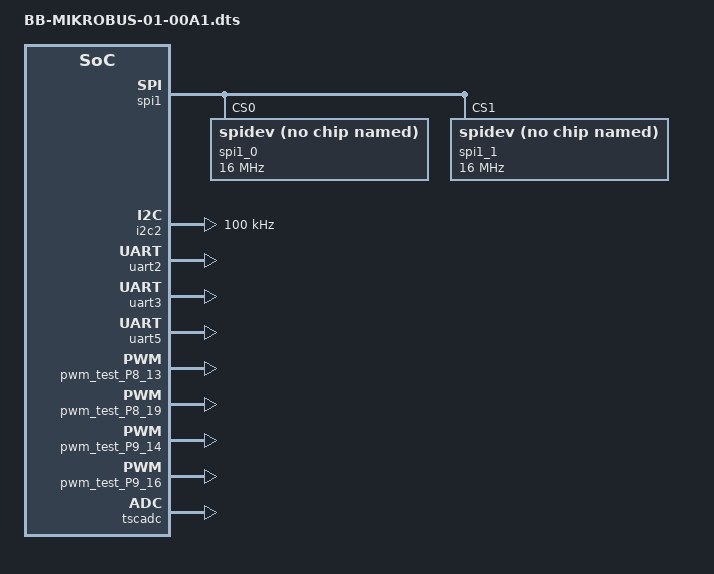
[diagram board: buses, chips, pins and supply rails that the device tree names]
/*
* Copyright (C) 2013 Daniele Sdei <danielesdei@gmail.com>
*
* This program is free software; you can redistribute it and/or modify
* it under the terms of the GNU General Public License version 2 as
* published by the Free Software Foundation.
*/
/dts-v1/;
/plugin/;

/ {
	compatible = "ti,beaglebone", "ti,beaglebone-black", "ti,beaglebone-green";

	/* identification */
	part-number = "BB-MIKROBUS-01";
	version = "00A1";

	/* state the resources this cape uses */
	exclusive-use =
		/* the pin header uses */
		"P8.11",	/* gpio1_13 */
		"P8.12",	/* gpio1_12 */
		"P8.13",	/* ehrpwm2B */
		"P8.14",	/* gpio0_26 */
		"P8.15",	/* gpio1_15 */
		"P8.16",	/* gpio1_14 */
		"P8.17",	/* gpio0_27 */
		"P8.18",	/* gpio2_1 */
		"P8.19",	/* ehrpwm2A */
		"P8.26",	/* gpio1_29 */
		"P9.11",	/* uart4_rxd_mux2 */
		"P9.12",	/* gpio1_28 */
		"P9.13",	/* uart4_txd_mux2 */
		"P9.14",	/* ehrpwm1A_mux1 */
		"P9.15",	/* gpio1_16 */
		"P9.16",	/* ehrpwm1B_mux1 */
		"P9.19",	/* i2c2_scl */
		"P9.20",	/* i2c2_sda */
		"P9.21",	/* uart2_txd */
		"P9.22",	/* uart2_rxd */
		"P9.23",	/* gpio1_17 */
		"P9.24",	/* uart1_txd */
		"P9.26",	/* uart1_rxd */
		"P9.28",	/* spi1_cs0 */
		"P9.29",	/* spi1_d0 */
		"P9.30",	/* spi1_d1 */
		"P9.31",	/* spi1_sclk */
        "P9.33",	/* AIN4 */
        "P9.35",	/* AIN6 */
        "P9.36",	/* AIN5 */
		"P9.37",	/* AIN2 */
		"P9.38",	/* AIN3 */
		"P9.39",	/* AIN0 */
		"P9.40",	/* AIN1 */
		"P9.41",	/* gpio0_20 */
		"P9.42",	/* spi1_cs1 */
		/* the hardware ip uses */
		"gpio1_13",
		"gpio1_12",
		"ehrpwm2B",
		"gpio0_26",
		"gpio1_15",
		"gpio1_14",
		"gpio0_27",
		"gpio2_1",
		"ehrpwm2A",
		"gpio1_29",
		"uart4",
		"ehrpwm1A",
		"gpio1_16",
		"ehrpwm1B",
		"i2c2",
		"uart2",
		"gpio1_17",
		"uart1",
		"spi1",
		"gpio0_20",
		"tscadc";

	fragment@0 {
		target = <&am33xx_pinmux>;

		__overlay__ {

			/* avoid stupid warning */
		        #address-cells = <1>;
	                #size-cells = <1>;

			bb_spi1_pins: pinmux_bb_spi1_pins {
				pinctrl-single,pins = <
					0x190 0x33	/* mcasp0_aclkx.spi1_sclk, INPUT_PULLUP | MODE3 */
					0x194 0x33	/* mcasp0_fsx.spi1_d0, INPUT_PULLUP | MODE3 */
					0x198 0x13	/* mcasp0_axr0.spi1_d1, OUTPUT_PULLUP | MODE3 */
					0x19c 0x13	/* mcasp0_ahclkr.spi1_cs0, OUTPUT_PULLUP | MODE3 */
					0x164 0x12	/* eCAP0_in_PWM0_out.spi1_cs1 OUTPUT_PULLUP | MODE2 */
				>;
			};
			bb_i2c2_pins: pinmux_bb_i2c2_pins {
				pinctrl-single,pins = <
					0x17c 0x73	/* uart1_rtsn.i2c2_scl, SLEWCTRL_SLOW | INPUT_PULLUP | MODE3 */
					0x178 0x73	/* uart1_ctsn.i2c2_sda, SLEWCTRL_SLOW | INPUT_PULLUP | MODE3 */
				>;
			};
			bb_uart1_pins: pinmux_bb_uart1_pins {
				pinctrl-single,pins = <
					0x184 0x00	/* P9.24 uart1_txd.uart1_txd | MODE0 OUTPUT */
					0x180 0x20	/* P9.26 uart1_rxd.uart1_rxd | MODE0 INPUT */
				>;
			};
			bb_uart2_pins: pinmux_bb_uart2_pins {
				pinctrl-single,pins = <
					0x150 0x21	/* P9.22 spi0_sclk.uart2_rxd | MODE1 INPUT */
					0x154 0x01	/* P9.21 spi0_d0.uart2_txd | MODE1 OUTPUT */
				>;
			};
			bb_uart4_pins: pinmux_bb_uart4_pins {
				pinctrl-single,pins = <
					0x070 0x26	/* P9.11 gpmc_wait0.uart4_rxd | MODE6 INPUT */
					0x074 0x06	/* P9.13 gpmc_wpn.uart4_txd | MODE6 OUTPUT */
				>;
			};
			pwm_P8_13: pinmux_pwm_P8_13_pins {
				pinctrl-single,pins = <0x024  0x4>; /* P8_13 (ZCZ ball T10) | MODE 4 */
			};
			pwm_P8_19: pinmux_pwm_P8_19_pins {
				pinctrl-single,pins = <0x020  0x4>; /* P8_19 (ZCZ ball U10) | MODE 4 */
			};
			pwm_P9_14: pinmux_pwm_P9_14_pins {
				pinctrl-single,pins = <0x048  0x6>; /* P9_14 (ZCZ ball U14) | MODE 6 */
			};
			pwm_P9_16: pinmux_pwm_P9_16_pins {
				pinctrl-single,pins = <0x04c  0x6>; /* P9_16 (ZCZ ball T14) | MODE 6 */
			};
			bb_gpio_pins: pinmux_bb_gpio_pins {
				pinctrl-single,pins = <
					0x034 0x17	/* gpmc_ad13.gpio1_13, OUTPUT_PULLUP | MODE7 */
					0x030 0x17	/* gpmc_ad12.gpio1_12, OUTPUT_PULLUP | MODE7 */
					0x028 0x17	/* gpmc_ad10.gpio0_26, OUTPUT_PULLUP | MODE7 */
					0x03c 0x17	/* gpmc_ad15.gpio1_15, OUTPUT_PULLUP | MODE7 */
					0x038 0x17	/* gpmc_ad14.gpio1_14, OUTPUT_PULLUP | MODE7 */
					0x02c 0x17	/* gpmc_ad11.gpio0_27, OUTPUT_PULLUP | MODE7 */
					0x08c 0x17	/* gpmc_clk.gpio2_1, OUTPUT_PULLUP | MODE7 */
					0x07c 0x17	/* gpmc_csn0.gpio1_29, OUTPUT_PULLUP | MODE7 */
					0x078 0x17	/* gpmc_be1n.gpio1_28, OUTPUT_PULLUP | MODE7 */
					0x040 0x17	/* gpmc_a0.gpio1_16, OUTPUT_PULLUP | MODE7 */
					0x044 0x17	/* gpmc_a1.gpio1_17, OUTPUT_PULLUP | MODE7 */
					0x1b4 0x17	/* xdma_event_intr1.gpio0_20, OUTPUT_PULLUP | MODE7 */
				>;
			};
		};
	};

	fragment@1 {
		target = <&spi1>;	/* spi1 is numbered correctly */
		__overlay__ {
			status = "okay";
			pinctrl-names = "default";
			pinctrl-0 = <&bb_spi1_pins>;

			#address-cells = <1>;
			#size-cells = <0>;

			/* add any spi devices connected here */
			/* note that you can do direct SPI via spidev now */
            spi1_0{
                #address-cells = <1>;
                #size-cells = <0>;
                compatible = "spidev";
                reg = <0>;
                spi-max-frequency = <16000000>;
				spi-cpol;
                spi-cpha;
            };
            spi1_1{
                #address-cells = <1>;
                #size-cells = <0>;
                compatible = "spidev";
                reg = <1>;
                spi-max-frequency = <16000000>;
                spi-cpol;
                spi-cpha;
            };
		};
	};

	fragment@2 {
		target = <&i2c2>;	/* i2c2 is numbered correctly */
		__overlay__ {
			status = "okay";
			pinctrl-names = "default";
			pinctrl-0 = <&bb_i2c2_pins>;

			/* this is the configuration part */
			clock-frequency = <100000>;

			#address-cells = <1>;
			#size-cells = <0>;

			/* add any i2c devices on the bus here */

		};
	};

	fragment@3 {
		target = <&uart2>;	/* really uart1 */
		__overlay__ {
			status = "okay";
			pinctrl-names = "default";
			pinctrl-0 = <&bb_uart1_pins>;
		};
	};

	fragment@4 {
		target = <&uart3>;	/* really uart2 */
		__overlay__ {
			status = "okay";
			pinctrl-names = "default";
			pinctrl-0 = <&bb_uart2_pins>;
		};
	};

	fragment@5 {
		target = <&uart5>;	/* really uart4 */
		__overlay__ {
			status = "okay";
			pinctrl-names = "default";
			pinctrl-0 = <&bb_uart4_pins>;
		};
	};

	fragment@6 {
		target = <&ocp>;
		__overlay__ {
			pwm_test_P8_13 {
				compatible	= "pwm_test";
				pwms 		= <&ehrpwm2 1 500000 1>;
				pwm-names 	= "PWM_P8_13";

				pinctrl-names	= "default";
				pinctrl-0	= <&pwm_P8_13>;

				enabled		= <1>;
				duty		= <0>;
				status 		= "okay";
			};
		};
	};

	fragment@7 {
		target = <&ocp>;
		__overlay__ {
			pwm_test_P8_19 {
				compatible	= "pwm_test";
				pwms 		= <&ehrpwm2 0 500000 1>;
				pwm-names 	= "PWM_P8_19";

				pinctrl-names	= "default";
				pinctrl-0	= <&pwm_P8_19>;

				enabled		= <1>;
				duty		= <0>;
				status 		= "okay";
			};
		};
	};

	fragment@8 {
		target = <&ocp>;
		__overlay__ {
			pwm_test_P9_14 {
				compatible	= "pwm_test";
				pwms 		= <&ehrpwm1 0 500000 1>;
				pwm-names 	= "PWM_P9_14";
			    pinctrl-names	= "default";
			    pinctrl-0	= <&pwm_P9_14>;
				enabled		= <1>;
				duty		= <0>;
				status 		= "okay";
			};
		};
	};

	fragment@9 {
		target = <&ocp>;
		__overlay__ {
			pwm_test_P9_16 {
				compatible	= "pwm_test";
				pwms 		= <&ehrpwm1 1 500000 1>;
				pwm-names 	= "PWM_P9_16";
			    pinctrl-names	= "default";
			    pinctrl-0	= <&pwm_P9_16>;
				enabled		= <1>;
				duty		= <0>;
				status 		= "okay";
			};
		};
	};

	fragment@10 {
		target = <&ocp>;
		__overlay__ {
            /* avoid stupid warning */
			#address-cells = <1>;
			#size-cells = <1>;

			tscadc {
				compatible = "ti,ti-tscadc";
				reg = <0x44e0d000 0x1000>;

				interrupt-parent = <&intc>;
				interrupts = <16>;
				ti,hwmods = "adc_tsc";
				status = "okay";

				adc {
					ti,adc-channels = <0 1 2 3 4 5 6 7>;
				};
			};

			test_helper: helper {
				compatible = "bone-iio-helper";
				vsense-name  = "AIN0", "AIN1", "AIN2", "AIN3", "AIN4", "AIN5", "AIN6", "AIN7";
				vsense-scale = <100     100     100     100     100     100     100     100>;
				status = "okay";
			};
		};
	};
};
